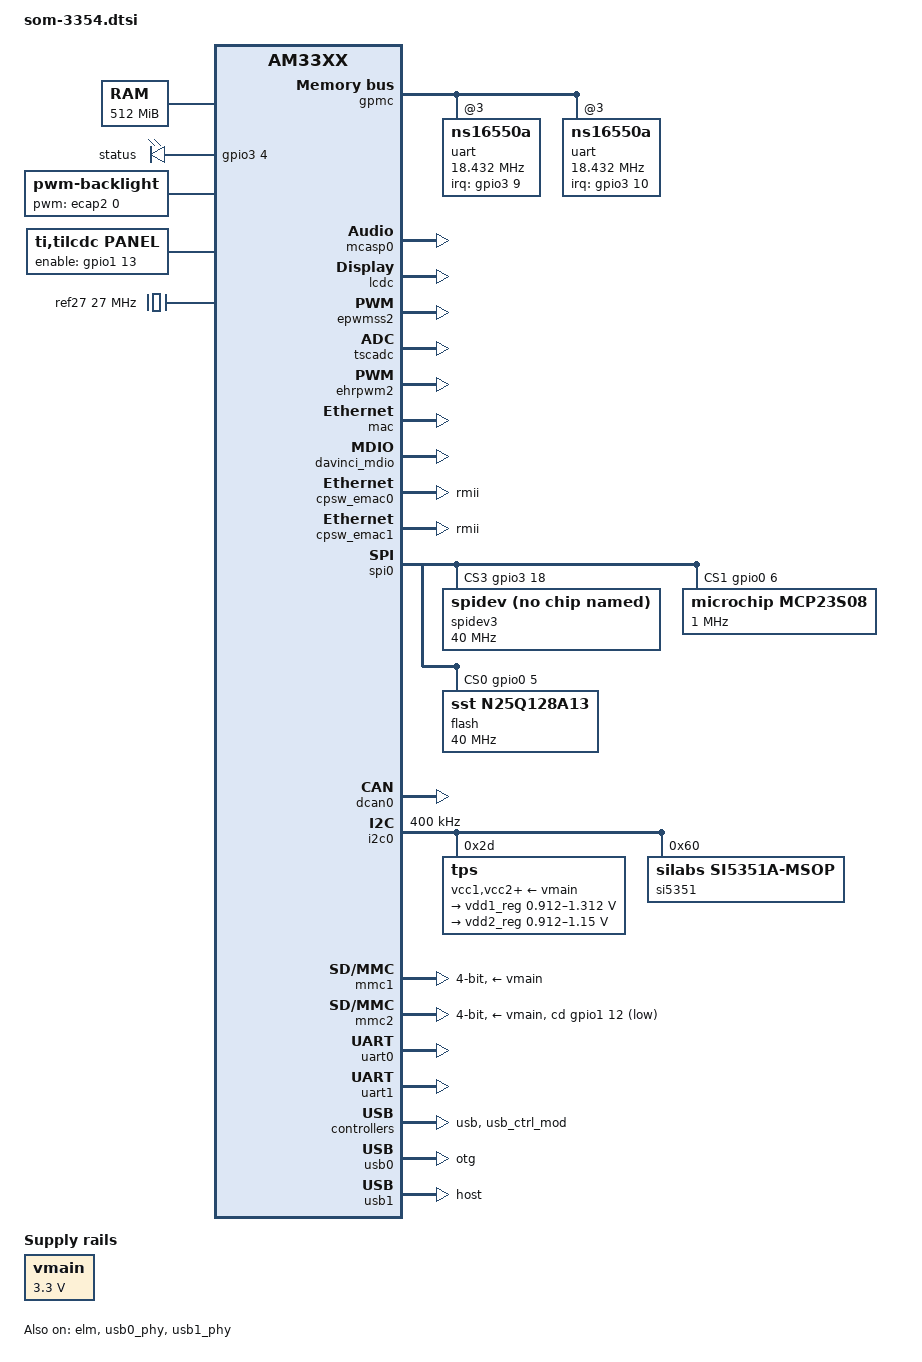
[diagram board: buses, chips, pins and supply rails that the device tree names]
/*
 * som-3354.dtsi - Device Tree inclue file for the SOM-3354M with SOM-2xx carriers.
 *
 * Copyright (C) 2015 EMAC Inc.
 * Copyright (C) 2015 QWERTY Embedded Design
 *
 * This program is free software; you can redistribute it and/or modify
 * it under the terms of the GNU General Public License version 2 as
 * published by the Free Software Foundation.
 */


#include "am33xx.dtsi"

/ {
	compatible = "emac,som3354", "ti,am33xx";

	cpus {
		cpu@0 {
			cpu0-supply = <&vdd1_reg>;
		};
	};

	memory {
		device_type = "memory";
		reg = <0x80000000 0x20000000>; /* 512 MB */
	};

	leds {
		pinctrl-names = "default";
		pinctrl-0 = <&leds_pins>;

		compatible = "gpio-leds";

		led@0 {
			label = "status";
			gpios = <&gpio3 4 GPIO_ACTIVE_HIGH>;
			default-state = "on";
		};
	};

	vmain: fixedregulator@0 {
		compatible = "regulator-fixed";
		regulator-name = "vmain";
		regulator-min-microvolt = <3300000>;
		regulator-max-microvolt = <3300000>;
		regulator-boot-on;
	};

	backlight {
		compatible = "pwm-backlight";
		pwms = <&ecap2 0 50000 0>;
		brightness-levels = <0 51 53 56 62 75 101 152 255>;
		default-brightness-level = <8>;
	};

	panel {
		compatible = "ti,tilcdc,panel";
		pinctrl-names = "default";
		pinctrl-0 = <&lcd_pins>;
		status = "okay";

		enable-gpios = <&gpio1 13 GPIO_ACTIVE_HIGH>;

		panel-info {
			ac-bias		= <255>;
			ac-bias-intrpt	= <0>;
			dma-burst-sz	= <16>;
			bpp		= <16>;
			fdd		= <0x80>;
			tft-alt-mode	= <0>;
			stn-565-mode	= <0>;
			mono-8bit-mode	= <0>;
			sync-edge	= <0>;
			sync-ctrl	= <0>;
			raster-order	= <1>;
			fifo-th		= <0>;
		};

		display-timings {
			native-mode = <&timing0>;
			timing0: 480x272 {
				hactive		= <480>;
				vactive		= <272>;
				hback-porch     = <1>;
				hfront-porch    = <44>;
				hsync-len       = <45>;
				vback-porch     = <1>;
				vfront-porch    = <13>;
				vsync-len       = <14>;
				clock-frequency = <9000000>;
				hsync-active    = <0>;
				vsync-active    = <0>;
				de-active = <1>;
				pixelclk-active = <1>;
			};
		};
	};

	clocks {
		ref27: ref27 {
			#clock-cells = <0>;
			compatible = "fixed-clock";
			clock-frequency = <27000000>;
		};
	};
};

&gpmc {
	status = "okay";
	pinctrl-names = "default";
	pinctrl-0 = <&gpmc_pins>;

	ranges = <0x3 0 0x08000000 0x1000000>;    /* CS3: DUART */

	uart@3,0 {
		compatible = "ns16550a";
		reg = <0x3 0x0 0x8>;
		clock-frequency = <18432000>;
		bank-width = <1>;
		reg-shift = <0>;
		reg-io-width = <1>;
		fifo-size = <16>;
		interrupt-parent = <&gpio3>;
		interrupts = <9 1>;
		gpmc,mux-add-data = <0>;
		gpmc,device-width = <1>;
		gpmc,wait-pin = <0>;
		gpmc,cycle2cycle-samecsen = <1>;
		gpmc,cycle2cycle-diffcsen = <1>;
		gpmc,cs-on-ns = <18>;
		gpmc,cs-rd-off-ns = <295>;
		gpmc,cs-wr-off-ns = <295>;
		gpmc,adv-on-ns = <73>;
		gpmc,adv-rd-off-ns = <92>;
		gpmc,adv-wr-off-ns = <110>;
		gpmc,oe-on-ns = <110>;
		gpmc,oe-off-ns = <295>;
		gpmc,we-on-ns = <92>;
		gpmc,we-off-ns = <295>;
		gpmc,rd-cycle-ns = <300>;
		gpmc,wr-cycle-ns = <300>;
		gpmc,access-ns = <276>;
		gpmc,page-burst-access-ns = <18>;
		gpmc,bus-turnaround-ns = <20>;
		gpmc,cycle2cycle-delay-ns = <20>;
		gpmc,wr-access-ns = <276>;
		status = "okay";
	};

	uart@3,8 {
		compatible = "ns16550a";
		reg = <0x3 0x8 0x8>;
		interrupt-parent = <&gpio3>;
		interrupts = <10 1>;
		clock-frequency = <18432000>;
		bank-width = <1>;
		reg-shift = <0>;
		reg-io-width = <1>;
		fifo-size = <16>;
		status = "okay";
	};
};

&mcasp0 {
	#sound-dai-cells = <0>;
	pinctrl-names = "default";
	pinctrl-0 = <&mcasp0_pins>;

	status = "okay";

	op-mode = <0>;          /* MCASP_IIS_MODE */
	tdm-slots = <2>;
	/* 4 serializers */
	serial-dir = <  /* 0: INACTIVE, 1: TX, 2: RX */
		2 1 0 0
		>;
	tx-num-evt = <2>;
	rx-num-evt = <2>;
};

&am33xx_pinmux {

	lcd_pins: pinmux_lcd_pins {
		  pinctrl-single,pins = <
			AM33XX_IOPAD(0x8a0, PIN_OUTPUT | MUX_MODE0)	/* lcd_data0 */
			AM33XX_IOPAD(0x8a4, PIN_OUTPUT | MUX_MODE0)	/* lcd_data1 */
			AM33XX_IOPAD(0x8a8, PIN_OUTPUT | MUX_MODE0)	/* lcd_data2 */
			AM33XX_IOPAD(0x8ac, PIN_OUTPUT | MUX_MODE0)	/* lcd_data3 */
			AM33XX_IOPAD(0x8b0, PIN_OUTPUT | MUX_MODE0)	/* lcd_data4 */
			AM33XX_IOPAD(0x8b4, PIN_OUTPUT | MUX_MODE0)	/* lcd_data5 */
			AM33XX_IOPAD(0x8b8, PIN_OUTPUT | MUX_MODE0)	/* lcd_data6 */
			AM33XX_IOPAD(0x8bc, PIN_OUTPUT | MUX_MODE0)	/* lcd_data7 */
			AM33XX_IOPAD(0x8c0, PIN_OUTPUT | MUX_MODE0)	/* lcd_data8 */
			AM33XX_IOPAD(0x8c4, PIN_OUTPUT | MUX_MODE0)	/* lcd_data9 */
			AM33XX_IOPAD(0x8c8, PIN_OUTPUT | MUX_MODE0)	/* lcd_data10 */
			AM33XX_IOPAD(0x8cc, PIN_OUTPUT | MUX_MODE0)	/* lcd_data11 */
			AM33XX_IOPAD(0x8d0, PIN_OUTPUT | MUX_MODE0)	/* lcd_data12 */
			AM33XX_IOPAD(0x8d4, PIN_OUTPUT | MUX_MODE0)	/* lcd_data13 */
			AM33XX_IOPAD(0x8d8, PIN_OUTPUT | MUX_MODE0)	/* lcd_data14 */
			AM33XX_IOPAD(0x8dc, PIN_OUTPUT | MUX_MODE0)	/* lcd_data15 */
			AM33XX_IOPAD(0x8e0, PIN_OUTPUT | MUX_MODE0)	/* lcd_vsync */
			AM33XX_IOPAD(0x8e4, PIN_OUTPUT | MUX_MODE0)	/* lcd_hsync */
			AM33XX_IOPAD(0x8e8, PIN_OUTPUT | MUX_MODE0)	/* lcd_pclk */
			AM33XX_IOPAD(0x8ec, PIN_OUTPUT | MUX_MODE0)	/* lcd_ac_bias_en */
		>;
	};

	mcasp0_pins: mcasp0_pins {
		pinctrl-single,pins = <
			AM33XX_IOPAD(0x990, PIN_INPUT_PULLDOWN | MUX_MODE0)	/* mcasp0_aclkx.mcasp0_aclkx */
			AM33XX_IOPAD(0x994, PIN_INPUT_PULLDOWN | MUX_MODE0)	/* mcasp0_fsx.mcasp0_fsx */
			AM33XX_IOPAD(0x998, PIN_INPUT_PULLDOWN | MUX_MODE0)	/* mcasp0_axr0.mcasp0_axr0 */
			AM33XX_IOPAD(0x9a8, PIN_INPUT_PULLDOWN | MUX_MODE0)	/* mcasp0_axr1.mcasp0_axr1 */
		>;
	};

	spi0_pins: spi0_pins {
		pinctrl-single,pins = <

			AM33XX_IOPAD(0x950, PIN_INPUT_PULLUP | MUX_MODE0)	/* spi0_sclk.spi0_sclk */
			AM33XX_IOPAD(0x95C, PIN_OUTPUT_PULLUP | MUX_MODE7)	/* spi0_cs0.spi0_cs0 */
			AM33XX_IOPAD(0x954, PIN_INPUT_PULLUP | MUX_MODE0)	/* spi0_d0.spi0_d0 */
			AM33XX_IOPAD(0x958, PIN_INPUT_PULLUP | MUX_MODE0)	/* spi0_d1.spi0_d1 */
			AM33XX_IOPAD(0x960, PIN_OUTPUT_PULLUP | MUX_MODE0)	/* spi0_cs1.spi0_cs1 */
			AM33XX_IOPAD(0x838, PIN_OUTPUT | MUX_MODE7)		/* gpmc_ad14.gpio1_14 */
			AM33XX_IOPAD(0x9e8, PIN_OUTPUT_PULLUP | MUX_MODE7)	/* emu1.gpio3_8 */
			AM33XX_IOPAD(0x9a0, PIN_OUTPUT_PULLUP | MUX_MODE7)	/* mcasp0_aclkr.gpio3_18 */
		>;
	};

	can0_pins: pinmux_can0_pins {
		pinctrl-single,pins = <
			AM33XX_IOPAD(0x91c, PIN_OUTPUT_PULLUP | MUX_MODE1)	/* mii1_txd3.can0_tx */
			AM33XX_IOPAD(0x920, PIN_INPUT_PULLUP | MUX_MODE1)	/* mii1_txd2.can0_rx */
		>;
	};

	i2c0_pins: pinmux_i2c0_pins {
		pinctrl-single,pins = <
			AM33XX_IOPAD(0x988, PIN_INPUT_PULLUP | MUX_MODE0)	/* i2c0_sda.i2c0_sda */
			AM33XX_IOPAD(0x98c, PIN_INPUT_PULLUP | MUX_MODE0)	/* i2c0_scl.i2c0_scl */
		>;
	};

	vmmc_pins: vmmc_pins {
		pinctrl-single,pins = <
			AM33XX_IOPAD(0x9e4, PIN_OUTPUT | MUX_MODE7)		/* emu0.gpio3_7 */
		>;
	};

	gpmc_pins: pinmux_gpmc_pins {
		pinctrl-single,pins = <
			AM33XX_IOPAD(0x800, PIN_INPUT_PULLUP | MUX_MODE0)	/* gpmc_ad0.gpmc_ad0 */
			AM33XX_IOPAD(0x804, PIN_INPUT_PULLUP | MUX_MODE0)	/* gpmc_ad1.gpmc_ad1 */
			AM33XX_IOPAD(0x808, PIN_INPUT_PULLUP | MUX_MODE0)	/* gpmc_ad2.gpmc_ad2 */
			AM33XX_IOPAD(0x80c, PIN_INPUT_PULLUP | MUX_MODE0)	/* gpmc_ad3.gpmc_ad3 */
			AM33XX_IOPAD(0x810, PIN_INPUT_PULLUP | MUX_MODE0)	/* gpmc_ad4.gpmc_ad4 */
			AM33XX_IOPAD(0x814, PIN_INPUT_PULLUP | MUX_MODE0)	/* gpmc_ad5.gpmc_ad5 */
			AM33XX_IOPAD(0x818, PIN_INPUT_PULLUP | MUX_MODE0)	/* gpmc_ad6.gpmc_ad6 */
			AM33XX_IOPAD(0x81c, PIN_INPUT_PULLUP | MUX_MODE0)	/* gpmc_ad7.gpmc_ad7 */

			AM33XX_IOPAD(0x840, PIN_OUTPUT | MUX_MODE0)		/* gpmc_a0.gpmc_a0 */
			AM33XX_IOPAD(0x844, PIN_OUTPUT | MUX_MODE0)		/* gpmc_a1.gpmc_a1 */
			AM33XX_IOPAD(0x848, PIN_OUTPUT | MUX_MODE0)		/* gpmc_a2.gpmc_a2 */
			AM33XX_IOPAD(0x84c, PIN_OUTPUT | MUX_MODE0)		/* gpmc_a3.gpmc_a3 */
			AM33XX_IOPAD(0x850, PIN_OUTPUT | MUX_MODE0)		/* gpmc_a4.gpmc_a4 */
			AM33XX_IOPAD(0x854, PIN_OUTPUT | MUX_MODE0)		/* gpmc_a5.gpmc_a5 */
			AM33XX_IOPAD(0x858, PIN_OUTPUT | MUX_MODE0)		/* gpmc_a6.gpmc_a6 */
			AM33XX_IOPAD(0x85c, PIN_OUTPUT | MUX_MODE0)		/* gpmc_a7.gpmc_a7 */
			AM33XX_IOPAD(0x860, PIN_OUTPUT | MUX_MODE0)		/* gpmc_a8.gpmc_a8 */
			AM33XX_IOPAD(0x864, PIN_OUTPUT | MUX_MODE0)		/* gpmc_a9.gpmc_a9 */
			AM33XX_IOPAD(0x868, PIN_OUTPUT | MUX_MODE0)		/* gpmc_a10.gpmc_a10 */
			AM33XX_IOPAD(0x86c, PIN_OUTPUT | MUX_MODE0)		/* gpmc_a11.gpmc_a11 */


			AM33XX_IOPAD(0x870, PIN_OUTPUT | MUX_MODE2)		/* gpmc_wait0.gpmc_csn4 */
			AM33XX_IOPAD(0x874, PIN_OUTPUT | MUX_MODE2)		/* gpmc_wpn.gpmc_csn5 */
			AM33XX_IOPAD(0x878, PIN_OUTPUT | MUX_MODE2)		/* gpmc_ben1.gpmc_csn6 */
			AM33XX_IOPAD(0x87c, PIN_OUTPUT | MUX_MODE0)		/* gpmc_csn0.gpmc_csn0 */
			AM33XX_IOPAD(0x888, PIN_OUTPUT | MUX_MODE0)		/* gpmc_csn3.gpmc_csn3 */
			AM33XX_IOPAD(0x894, PIN_OUTPUT | MUX_MODE0)		/* gpmc_oen_ren.gpmc_oen_ren */
			AM33XX_IOPAD(0x898, PIN_OUTPUT | MUX_MODE0)		/* gpmc_wen.gpmc_wen */
			AM33XX_IOPAD(0x89c, PIN_OUTPUT | MUX_MODE2)		/* gpmc_ben0_cle.timer5 */

			AM33XX_IOPAD(0x92c, PIN_INPUT_PULLDOWN | MUX_MODE7)	/* mii1_txclk.gpio3_9 */
			AM33XX_IOPAD(0x930, PIN_INPUT_PULLDOWN | MUX_MODE7)	/* mii1_rxclk.gpio3_10 */
			AM33XX_IOPAD(0x890, PIN_INPUT_PULLDOWN | MUX_MODE7)	/* gpmc_advn_ale.gpio2_2 */
			AM33XX_IOPAD(0x9b4, PIN_INPUT_PULLDOWN | MUX_MODE7)	/* xdma_event_intr1.gpio0_20 */
			AM33XX_IOPAD(0x96c, PIN_INPUT_PULLDOWN | MUX_MODE7)	/* uart0_rtsn.gpio1_9 */
			AM33XX_IOPAD(0x964, PIN_INPUT_PULLDOWN | MUX_MODE7)	/* eCAP0_in_PWM0_out.gpio0_7 */
		>;
	};

	uart0_pins: pinmux_uart0_pins {
		pinctrl-single,pins = <
			AM33XX_IOPAD(0x970, PIN_INPUT_PULLUP | MUX_MODE0)	/* uart0_rxd.uart0_rxd */
			AM33XX_IOPAD(0x974, PIN_OUTPUT_PULLDOWN | MUX_MODE0)	/* uart0_txd.uart0_txd */
		>;
	};

	uart1_pins: uart1_pins {
		pinctrl-single,pins = <
			AM33XX_IOPAD(0x978, PIN_INPUT | MUX_MODE7)		/* uart1_ctsn.uart1_ctsn */
			AM33XX_IOPAD(0x97C, PIN_OUTPUT_PULLUP | MUX_MODE7)	/* uart1_rtsn.uart1_rtsn */
			AM33XX_IOPAD(0x980, PIN_INPUT_PULLUP | MUX_MODE0)	/* uart1_rxd.uart1_rxd */
			AM33XX_IOPAD(0x984, PIN_OUTPUT_PULLDOWN | MUX_MODE0)	/* uart1_txd.uart1_txd */
		>;
	};

	leds_pins: pinmux_leds_pins {
		pinctrl-single,pins = <
			AM33XX_IOPAD(0x918, PIN_OUTPUT_PULLDOWN | MUX_MODE7)	/* mii1_rxdv.gpio3_4 */
		>;
	};

	ecap2_pins: backlight_pins {
		pinctrl-single,pins = <
			AM33XX_IOPAD(0x99c, PIN_OUTPUT_PULLDOWN | MUX_MODE4)	/* mcasp0_ahclkr.eCAP2_in_PWM2_out */
		>;
	};

	usbdrv0_pins: usbdrv0_pins {
		pinctrl-single,pins = <
			AM33XX_IOPAD(0x968, PIN_OUTPUT | MUX_MODE7) /* uart0_ctsn.gpio1_8 */
			AM33XX_IOPAD(0x21c, PIN_OUTPUT | MUX_MODE7)      /* usb0_drvvbus.gpio0_18 */
		>;
	};

};

&lcdc {
	status = "okay";
};

&epwmss2 {
	status = "okay";

	ecap2: ecap@48304100 {
		status = "okay";
		pinctrl-names = "default";
		pinctrl-0 = <&ecap2_pins>;
	};
};

&tscadc {
	status = "okay";
	tsc {
		ti,wires = <4>;
		ti,x-plate-resistance = <200>;
		ti,coordinate-readouts = <5>;
		ti,wire-config = <0x00 0x11 0x22 0x33>;
		ti,charge-delay = <0x4000>;
		ti,open-delay = <0x1000>;
	};

	adc {
		ti,adc-channels = <4 5 6 7>;
	};

};

&epwmss2 {
	status = "okay";
};

&ehrpwm2 {
	status = "okay";
};

&mac {
	status = "okay";
};

&davinci_mdio {
	status = "okay";
};

&cpsw_emac0 {
	phy_id = <&davinci_mdio>, <1>;
	phy-mode = "rmii";
};

&cpsw_emac1 {
	phy_id = <&davinci_mdio>, <2>;
	phy-mode = "rmii";
};

&phy_sel {
	rmii-clock-ext;
};

&elm {
	status = "okay";
};

&spi0 {
	ti,spi-num-cs = <4>;
	dmas = <&edma 16 0
		&edma 17 0
		&edma 18 0
		&edma 19 0
		&edma 20 0
		&edma 21 0
		&edma 22 0
		&edma 23 0>;
	dma-names = "tx0", "rx0", "tx1", "rx1", "tx2", "rx2", "tx3", "rx3";
	pinctrl-names = "default";
	pinctrl-0 = <&spi0_pins>;
	status = "okay";
	cs-gpios = <&gpio0 5 0>, <&gpio0 6 0>, <&gpio1 14 0>, <&gpio3 18 0>;

	spidev3: spidev@3 {
		compatible = "emac,spidev";
		reg = <3>;
		spi-max-frequency = <40000000>;
		status = "okay";
	};

	mcp23s08: mcp23s08@1 {
		compatible = "microchip,mcp23s08";
		gpio-controller;
		#gpio-cells = <2>;
		microchip,spi-present-mask = <0x01>;
		spi-max-frequency = <1000000>;
		reg = <1>;
		status = "okay";
	};
	flash: m25p80@0 {
		compatible = "sst,n25q128a13";
		spi-max-frequency = <40000000>;
		reg = <0>;
		status = "okay";
	};
};

&dcan0 {
	status = "okay";
	pinctrl-names = "default";
	pinctrl-0 = <&can0_pins>;
};

&i2c0 {
	status = "okay";
	pinctrl-names = "default";
	pinctrl-0 = <&i2c0_pins>;

	clock-frequency = <400000>;

	tps: tps@2d {
		reg = <0x2d>;
	};

	si5351: clock-generator {
		#address-cells = <1>;
		#size-cells = <0>;
		#clock-cells = <1>;
		compatible = "silabs,si5351a-msop";
		reg = <0x60>;
		status = "okay";

		/* connect xtal input to 27MHz reference */
		clocks = <&ref27>;
		clock-names = "xtal";

		/* connect xtal input as source of pll0 and pll1 */
		silabs,pll-source = <0 0>, <1 0>;

		clkout0: clkout0 {
			reg = <0>;
			silabs,drive-strength = <8>;
			silabs,multisynth-source = <1>;
			silabs,clock-source = <0>;
			silabs,pll-master;
			silabs,disable-state = <3>;
			clock-frequency = <18432000>;
		 };

		clkout1: clkout1 {
			reg = <1>;
			silabs,drive-strength = <8>;
			silabs,multisynth-source = <0>;
			silabs,clock-source = <0>;
			silabs,pll-master;
			silabs,disable-state = <3>;
			clock-frequency = <8000000>;
	 	};

		clkout2: clkout2 {
			reg = <2>;
			silabs,drive-strength = <8>;
			silabs,multisynth-source = <1>;
			silabs,clock-source = <0>;
			silabs,disable-state = <3>;
			clock-frequency = <12288000>;
	 	};
	};
};

&mmc1 {
	status = "okay";
	vmmc-supply = <&vmain>;
	bus-width = <4>;
};

&mmc2 {
	status = "okay";
	vmmc-supply = <&vmain>;
	bus-width = <4>;
	cd-gpios = <&gpio1 12 1>;
};

&uart0 {
	status = "okay";
	pinctrl-names = "default";
	pinctrl-0 = <&uart0_pins>;
};

&uart1 {
	status = "okay";
	pinctrl-names = "default";
	pinctrl-0 = <&uart1_pins>;
	rts-gpio = <&gpio0 13 GPIO_ACTIVE_HIGH>;
	rs485-rts-active-high;
	rs485-rts-delay = <1 1>;
};

&usb {
	status = "okay";
};

&usb_ctrl_mod {
	status = "okay";
};

&usb0_phy {
	status = "okay";
};

&usb1_phy {
	status = "okay";
};

&usb0 {
	status = "okay";
	pinctrl-names = "default";
	pinctrl-0 = <&usbdrv0_pins>;
	drv-gpios = <&gpio1 8 0>;
	dr_mode = "otg";
};

&usb1 {
	status = "okay";
	dr_mode = "host";
};

&cppi41dma  {
	status = "okay";
};

#include "tps65910.dtsi"

&tps {
	vcc1-supply = <&vmain>;
	vcc2-supply = <&vmain>;
	vcc3-supply = <&vmain>;
	vcc4-supply = <&vmain>;
	vcc5-supply = <&vmain>;
	vcc6-supply = <&vmain>;
	vcc7-supply = <&vmain>;
	vccio-supply = <&vmain>;

	regulators {
		vrtc_reg: regulator@0 {
			regulator-always-on;
		};

		vio_reg: regulator@1 {
			regulator-always-on;
		};

		vdd1_reg: regulator@2 {
			/* VDD_MPU voltage limits 0.95V - 1.26V with +/-4% tolerance */
			regulator-name = "vdd_mpu";
			regulator-min-microvolt = <912500>;
			regulator-max-microvolt = <1312500>;
			regulator-boot-on;
			regulator-always-on;
		};

		vdd2_reg: regulator@3 {
			/* VDD_CORE voltage limits 0.95V - 1.1V with +/-4% tolerance */
			regulator-name = "vdd_core";
			regulator-min-microvolt = <912500>;
			regulator-max-microvolt = <1150000>;
			regulator-boot-on;
			regulator-always-on;
		};

		vdd3_reg: regulator@4 {
			regulator-always-on;
		};

		vdig1_reg: regulator@5 {
			regulator-always-on;
		};

		vdig2_reg: regulator@6 {
			regulator-always-on;
		};

		vpll_reg: regulator@7 {
			regulator-always-on;
		};

		vdac_reg: regulator@8 {
			regulator-always-on;
		};

		vaux1_reg: regulator@9 {
			regulator-always-on;
		};

		vaux2_reg: regulator@10 {
			regulator-always-on;
		};

		vaux33_reg: regulator@11 {
			regulator-always-on;
		};

		vmmc_reg: regulator@12 {
			regulator-always-on;
		};
	};
};
